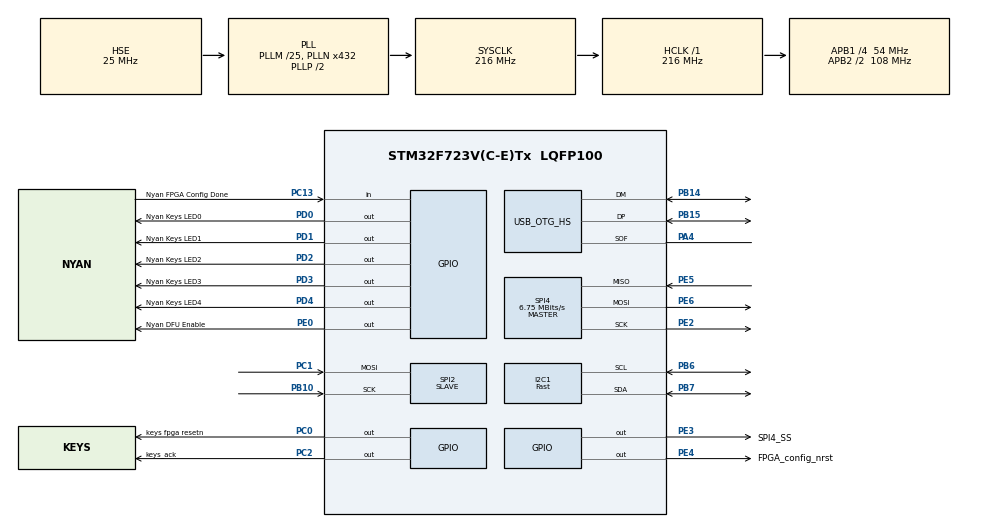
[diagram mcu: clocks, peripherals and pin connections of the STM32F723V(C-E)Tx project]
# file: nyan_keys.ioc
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AL94.I-CUBE-USBD-COMPOSITE.1.0.3.CompositeCcUSBJjCOMPOSITEJjCDCIiACM=true
AL94.I-CUBE-USBD-COMPOSITE.1.0.3.CompositeCcUSBJjCOMPOSITEJjCOMPOSITE=true
AL94.I-CUBE-USBD-COMPOSITE.1.0.3.CompositeCcUSBJjCOMPOSITEJjCore=true
AL94.I-CUBE-USBD-COMPOSITE.1.0.3.CompositeCcUSBJjCOMPOSITEJjHIDIiKEYBOARD=true
AL94.I-CUBE-USBD-COMPOSITE.1.0.3._USBD_USE_CDC_ACM=true
AL94.I-CUBE-USBD-COMPOSITE.1.0.3._USBD_USE_DFU=false
AL94.I-CUBE-USBD-COMPOSITE.1.0.3._USBD_USE_HID_CUSTOM=false
AL94.I-CUBE-USBD-COMPOSITE.1.0.3._USBD_USE_HID_KEYBOARD=true
AL94.I-CUBE-USBD-COMPOSITE.1.0.3._USBD_USE_HS=true
CORTEX_M7.CPU_DCache=Enabled
CORTEX_M7.CPU_ICache=Enabled
CORTEX_M7.PREFETCH_ENABLE=1
CORTEX_M7.default_mode_Activation=0
Dma.I2C1_RX.0.Direction=DMA_PERIPH_TO_MEMORY
Dma.I2C1_RX.0.FIFOMode=DMA_FIFOMODE_DISABLE
Dma.I2C1_RX.0.Instance=DMA1_Stream0
Dma.I2C1_RX.0.MemDataAlignment=DMA_MDATAALIGN_BYTE
Dma.I2C1_RX.0.MemInc=DMA_MINC_ENABLE
Dma.I2C1_RX.0.Mode=DMA_NORMAL
Dma.I2C1_RX.0.PeriphDataAlignment=DMA_PDATAALIGN_BYTE
Dma.I2C1_RX.0.PeriphInc=DMA_PINC_DISABLE
Dma.I2C1_RX.0.Priority=DMA_PRIORITY_MEDIUM
Dma.I2C1_TX.1.Direction=DMA_MEMORY_TO_PERIPH
Dma.I2C1_TX.1.FIFOMode=DMA_FIFOMODE_DISABLE
Dma.I2C1_TX.1.Instance=DMA1_Stream6
Dma.I2C1_TX.1.MemDataAlignment=DMA_MDATAALIGN_BYTE
Dma.I2C1_TX.1.MemInc=DMA_MINC_ENABLE
Dma.I2C1_TX.1.Mode=DMA_NORMAL
Dma.I2C1_TX.1.PeriphDataAlignment=DMA_PDATAALIGN_BYTE
Dma.I2C1_TX.1.PeriphInc=DMA_PINC_DISABLE
Dma.I2C1_TX.1.Priority=DMA_PRIORITY_MEDIUM
Dma.Request0=I2C1_RX
Dma.Request1=I2C1_TX
Dma.Request2=SPI2_RX
Dma.SPI2_RX.2.Direction=DMA_PERIPH_TO_MEMORY
Dma.SPI2_RX.2.FIFOMode=DMA_FIFOMODE_DISABLE
Dma.SPI2_RX.2.Instance=DMA1_Stream3
Dma.SPI2_RX.2.MemDataAlignment=DMA_MDATAALIGN_BYTE
Dma.SPI2_RX.2.MemInc=DMA_MINC_ENABLE
Dma.SPI2_RX.2.Mode=DMA_CIRCULAR
Dma.SPI2_RX.2.PeriphDataAlignment=DMA_PDATAALIGN_BYTE
Dma.SPI2_RX.2.PeriphInc=DMA_PINC_DISABLE
Dma.SPI2_RX.2.Priority=DMA_PRIORITY_VERY_HIGH
I2C1.I2C_Speed_Mode=I2C_Fast
I2C1.Speed=400
I2C1.Timing=0x6000030D
Mcu.Family=STM32F7
Mcu.Name=STM32F723V(C-E)Tx
Mcu.Package=LQFP100
NVIC.DMA1_Stream0_IRQn=true\:1\:0\:true\:false\:true\:false\:true\:true
NVIC.DMA1_Stream3_IRQn=true\:0\:0\:false\:false\:true\:false\:true\:true
NVIC.DMA1_Stream6_IRQn=true\:1\:0\:true\:false\:true\:false\:true\:true
NVIC.I2C1_ER_IRQn=true\:3\:0\:true\:false\:true\:true\:true\:true
NVIC.I2C1_EV_IRQn=true\:3\:0\:true\:false\:true\:true\:true\:true
NVIC.OTG_HS_EP1_IN_IRQn=true\:0\:0\:false\:false\:true\:true\:true\:true
NVIC.OTG_HS_EP1_OUT_IRQn=true\:0\:0\:false\:false\:true\:true\:true\:true
NVIC.OTG_HS_IRQn=true\:1\:0\:true\:false\:true\:true\:true\:true
NVIC.PriorityGroup=NVIC_PRIORITYGROUP_4
NVIC.SPI2_IRQn=true\:2\:0\:true\:false\:true\:true\:true\:true
NVIC.TIM1_CC_IRQn=true\:10\:0\:true\:false\:true\:true\:true\:true
NVIC.TIM1_TRG_COM_TIM11_IRQn=true\:0\:0\:false\:false\:true\:true\:true\:true
NVIC.TIM1_UP_TIM10_IRQn=true\:11\:0\:true\:false\:true\:true\:true\:true
NVIC.TIM6_DAC_IRQn=true\:12\:0\:true\:false\:true\:true\:true\:true
NVIC.TIM7_IRQn=true\:13\:0\:true\:false\:true\:true\:true\:true
NVIC.TIM8_CC_IRQn=true\:9\:0\:true\:false\:true\:true\:true\:true
NVIC.TIM8_TRG_COM_TIM14_IRQn=true\:0\:0\:false\:false\:true\:true\:true\:true
NVIC.TIM8_UP_TIM13_IRQn=true\:3\:0\:true\:false\:true\:true\:true\:true
PA4.Mode=Activate_SOF_FS
PA4.Signal=USB_OTG_HS_SOF
PB10.Mode=RX_Only_Simplex_Unidirect_Slave
PB10.Signal=SPI2_SCK
PB14.Mode=Internal_Phy_Device
PB14.Signal=USB_OTG_HS_DM
PB15.Mode=Internal_Phy_Device
PB15.Signal=USB_OTG_HS_DP
PB6.Mode=I2C
PB6.Signal=I2C1_SCL
PB7.Mode=I2C
PB7.Signal=I2C1_SDA
PC0.GPIO_Label=keys fpga resetn
PC0.GPIO_PuPd=GPIO_PULLDOWN
PC0.GPIO_Speed=GPIO_SPEED_FREQ_MEDIUM
PC0.PinState=GPIO_PIN_RESET
PC0.Signal=GPIO_Output
PC1.Mode=RX_Only_Simplex_Unidirect_Slave
PC1.Signal=SPI2_MOSI
PC13.GPIO_Label=Nyan FPGA Config Done
PC13.GPIO_Mode=GPIO_MODE_INPUT
PC13.GPIO_PuPd=GPIO_PULLDOWN
PC13.Signal=GPIO_Input
PC2.GPIO_Label=keys_ack
PC2.GPIO_PuPd=GPIO_PULLUP
PC2.GPIO_Speed=GPIO_SPEED_FREQ_VERY_HIGH
PC2.PinState=GPIO_PIN_SET
PC2.Signal=GPIO_Output
PD0.GPIO_Label=Nyan Keys LED0
PD0.GPIO_PuPd=GPIO_PULLDOWN
PD0.GPIO_Speed=GPIO_SPEED_FREQ_VERY_HIGH
PD0.Signal=GPIO_Output
PD1.GPIO_Label=Nyan Keys LED1
PD1.GPIO_PuPd=GPIO_PULLDOWN
PD1.GPIO_Speed=GPIO_SPEED_FREQ_VERY_HIGH
PD1.Signal=GPIO_Output
PD2.GPIO_Label=Nyan Keys LED2
PD2.GPIO_PuPd=GPIO_PULLDOWN
PD2.GPIO_Speed=GPIO_SPEED_FREQ_VERY_HIGH
PD2.Signal=GPIO_Output
PD3.GPIO_Label=Nyan Keys LED3
PD3.GPIO_PuPd=GPIO_PULLDOWN
PD3.GPIO_Speed=GPIO_SPEED_FREQ_VERY_HIGH
PD3.Signal=GPIO_Output
PD4.GPIO_Label=Nyan Keys LED4
PD4.GPIO_PuPd=GPIO_PULLDOWN
PD4.GPIO_Speed=GPIO_SPEED_FREQ_VERY_HIGH
PD4.Signal=GPIO_Output
PE0.GPIO_Label=Nyan DFU Enable
PE0.GPIO_PuPd=GPIO_PULLDOWN
PE0.GPIO_Speed=GPIO_SPEED_FREQ_VERY_HIGH
PE0.Signal=GPIO_Output
PE2.Mode=Full_Duplex_Master
PE2.Signal=SPI4_SCK
PE3.GPIO_Label=SPI4_SS
PE3.GPIO_PuPd=GPIO_PULLDOWN
PE3.GPIO_Speed=GPIO_SPEED_FREQ_HIGH
PE3.Signal=GPIO_Output
PE4.GPIO_Label=FPGA_config_nrst
PE4.GPIO_PuPd=GPIO_PULLUP
PE4.GPIO_Speed=GPIO_SPEED_FREQ_MEDIUM
PE4.PinState=GPIO_PIN_SET
PE4.Signal=GPIO_Output
PE5.Mode=Full_Duplex_Master
PE5.Signal=SPI4_MISO
PE6.Mode=Full_Duplex_Master
PE6.Signal=SPI4_MOSI
PH0-OSC_IN.Mode=HSE-External-Clock-Source
PH0-OSC_IN.Signal=RCC_OSC_IN
PH1-OSC_OUT.Mode=HSE-External-Clock-Source
PH1-OSC_OUT.Signal=RCC_OSC_OUT
ProjectManager.HeapSize=0x800
ProjectManager.StackSize=0x800
ProjectManager.TargetToolchain=Makefile
RCC.AHBFreq_Value=216000000
RCC.APB1CLKDivider=RCC_HCLK_DIV4
RCC.APB1Freq_Value=54000000
RCC.APB1TimFreq_Value=108000000
RCC.APB2CLKDivider=RCC_HCLK_DIV2
RCC.APB2Freq_Value=108000000
RCC.APB2TimFreq_Value=216000000
RCC.CortexFreq_Value=216000000
RCC.HCLKFreq_Value=216000000
RCC.HSE_VALUE=25000000
RCC.HSI_VALUE=16000000
RCC.LSE_VALUE=32768
RCC.PLLM=25
RCC.PLLN=432
RCC.PLLQ=9
RCC.SYSCLKFreq_VALUE=216000000
RCC.SYSCLKSource=RCC_SYSCLKSOURCE_PLLCLK
RCC.USBFreq_Value=48000000
RCC.VCOOutputFreq_Value=432000000
REXTPHYHS.Mode=Internal_Phy_Device
REXTPHYHS.Signal=USB_OTG_HS_REXTPHYHS
SPI2.CLKPhase=SPI_PHASE_1EDGE
SPI2.CLKPolarity=SPI_POLARITY_LOW
SPI2.DataSize=SPI_DATASIZE_8BIT
SPI2.Direction=SPI_DIRECTION_2LINES_RXONLY
SPI2.FirstBit=SPI_FIRSTBIT_MSB
SPI2.Mode=SPI_MODE_SLAVE
SPI2.VirtualType=VM_SLAVE
SPI4.BaudRatePrescaler=SPI_BAUDRATEPRESCALER_16
SPI4.CalculateBaudRate=6.75 MBits/s
SPI4.DataSize=SPI_DATASIZE_8BIT
SPI4.Direction=SPI_DIRECTION_2LINES
SPI4.Mode=SPI_MODE_MASTER
SPI4.VirtualType=VM_MASTER
TIM1.AutoReloadPreload=TIM_AUTORELOAD_PRELOAD_ENABLE
TIM1.Channel-Output\ Compare1\ No\ Output=TIM_CHANNEL_1
TIM1.Channel-Output\ Compare2\ No\ Output=TIM_CHANNEL_2
TIM1.ClockDivision=TIM_CLOCKDIVISION_DIV4
TIM1.Period=256
TIM1.Prescaler=320
TIM1.Pulse-Output\ Compare1\ No\ Output=0
TIM1.Pulse-Output\ Compare2\ No\ Output=33
TIM1.TIM_MasterOutputTrigger=TIM_TRGO_RESET
TIM1.TIM_MasterOutputTrigger2=TIM_TRGO2_RESET
TIM1.TIM_MasterSlaveMode=TIM_MASTERSLAVEMODE_DISABLE
TIM14.AutoReloadPreload=TIM_AUTORELOAD_PRELOAD_ENABLE
TIM14.Period=1727
TIM14.Prescaler=62499
TIM6.Period=37
TIM6.Prescaler=16452
TIM7.AutoReloadPreload=TIM_AUTORELOAD_PRELOAD_DISABLE
TIM7.Period=11154
TIM7.Prescaler=7520
TIM7.TIM_MasterOutputTrigger=TIM_TRGO_RESET
TIM8.AutoReloadPreload=TIM_AUTORELOAD_PRELOAD_ENABLE
TIM8.Channel-Output\ Compare1\ No\ Output=TIM_CHANNEL_1
TIM8.ClockDivision=TIM_CLOCKDIVISION_DIV1
TIM8.Period=99
TIM8.Prescaler=2699
USB_OTG_HS.VirtualMode=Int_Phy_Device
USB_OTG_HS.dma_enable=ENABLE
USB_OTG_HS.speed=USB_OTG_SPEED_HIGH
VP_AL94.I-CUBE-USBD-COMPOSITE_VS_USBJjComposite_1.0.0_1.0.3.Mode=USBJjComposite
VP_RNG_VS_RNG.Mode=RNG_Activate
VP_TIM14_VS_ClockSourceINT.Mode=Enable_Timer
VP_TIM1_VS_no_output1.Mode=Output Compare1 No Output
VP_TIM1_VS_no_output2.Mode=Output Compare2 No Output
VP_TIM6_VS_ClockSourceINT.Mode=Enable_Timer
VP_TIM7_VS_ClockSourceINT.Mode=Enable_Timer
VP_TIM8_VS_ClockSourceINT.Mode=Internal
VP_TIM8_VS_no_output1.Mode=Output Compare1 No Output
board=custom

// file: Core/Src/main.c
/* USER CODE BEGIN Header */
/**
  ******************************************************************************
  * @file           : main.c
  * @brief          : Main program body
  ******************************************************************************
  * @attention
  *
  * Copyright (c) 2023 STMicroelectronics.
  * All rights reserved.
  *
  * This software is licensed under terms that can be found in the LICENSE file
  * in the root directory of this software component.
  * If no LICENSE file comes with this software, it is provided AS-IS.
  *
  ******************************************************************************
  */
/* USER CODE END Header */
#include "main.h"
#include "dma.h"
#include "i2c.h"
#include "rng.h"
#include "spi.h"
#include "tim.h"
#include "usb_otg.h"
#include "gpio.h"

/* USER CODE BEGIN Includes */
// USB Composite device support
#include "usb_device.h"
#include "usbd_cdc_acm_if.h"
#include "usbd_hid_keyboard.h"
// Nyan Keys Specific Hardware
#include "24xx_eeprom.h"
#include "iceuncompr.h"
#include "lattice_ice_hx.h"
// NyanOS and Packages
#include "nyan_os.h"
#include "nyan_leds.h"
#include "nyan_strings.h"
#include "nyan_bitcoin.h"
#include "nyan_keys.h"
/* USER CODE END Includes */

/* USER CODE BEGIN PV */
extern USBD_HandleTypeDef hUsbDevice;

// Volatile Interrupt Variables
volatile NyanOS nos;                                  // NyanOS - Main Operating System
volatile double system_status_led_angle;              // Used in the Sin^2(x) + Cos^2(x) = 1 [LED PWM]
volatile NyanKeys nyan_keys;                          // Nyan Keys FPGA Switch driver FPGA -> SPI -> STM32
volatile NyanKeyBoardDescriptor nyan_hid_report;      // Global HID Report used in the nyan keys

// Non-Volatile Globals
Eeprom24xx   nos_eeprom;   // 24xx Based EEPROM
Iceuncompr   ice_uncompr;  // Decompression agent - FPGA Bitstream
LatticeIceHX nos_fpga;     // Lattice ICE40HX4k FPGA driver
NyanBitcoin  nyan_bitcoin; // Nyan Keys Background Bitcoin Miner
/* USER CODE END PV */

void SystemClock_Config(void);

int main(void)
{
/* Enable the CPU Cache */

  /* Enable I-Cache---------------------------------------------------------*/
  SCB_EnableICache();

  /* Enable D-Cache---------------------------------------------------------*/
  SCB_EnableDCache();

  /* MCU Configuration--------------------------------------------------------*/

  /* Reset of all peripherals, Initializes the Flash interface and the Systick. */
  HAL_Init();

  /* USER CODE BEGIN Init */
  EepromInit(&nos_eeprom, true, true);

  /* USER CODE END Init */

  /* Configure the system clock */
  SystemClock_Config();

  /* Initialize all configured peripherals */
  MX_GPIO_Init();
  MX_DMA_Init();
  MX_SPI4_Init();
  MX_I2C1_Init();
  MX_TIM7_Init();
  MX_TIM6_Init();
  MX_TIM1_Init();
  MX_RNG_Init();
  MX_TIM8_Init();
  MX_TIM14_Init();
  MX_USB_OTG_HS_PCD_Init();
  /* USER CODE BEGIN 2 */
  // Activate the STM32F7 timer interrupts
  HAL_TIM_Base_Start_IT(&htim1);
  HAL_TIM_Base_Start_IT(&htim7);
  HAL_TIM_Base_Start_IT(&htim6);
  HAL_TIM_Base_Start_IT(&htim14);
  HAL_TIM_OC_Start_IT(&htim1, TIM_CHANNEL_1);
  HAL_TIM_OC_Start_IT(&htim1, TIM_CHANNEL_2);
  HAL_TIM_OC_Start_IT(&htim8, TIM_CHANNEL_1);
  // USB composite device creation
  HAL_GPIO_WritePin(keys_ack_GPIO_Port, keys_ack_Pin, GPIO_PIN_RESET);
  MX_USB_DEVICE_Init();
  NyanOsInit(&nos);                    // NyanOS (NOS) Initialization
  FPGAInit((LatticeIceHX*)&nos_fpga);  // FPGA Bitstream Loading
  NyanKeysInit((NyanKeys*)&nyan_keys); // Load up the fast cat IP for access to your keys; happy typing.
#ifdef BITCOIN_MINER_EN
  NyanBitcoinInit(&nyan_bitcoin);     // Load up the bitcoin miner, comment this out or delete to disable.
#endif
  // Pull the reset high

  /* USER CODE END 2 */

  /* Infinite loop */
  /* USER CODE BEGIN WHILE */
  bool keys_dma_started = false;
  while (1)
  {
    if (nos_fpga.configured && !keys_dma_started) {
      keys_dma_started = true;
      MX_SPI2_Init();
      FPGANyanKeysIPReset();
      NyanGetKeys((NyanKeys*)&nyan_keys);
    } else if (!nos_fpga.configured) {
      FPGAInit(&nos_fpga);
    } else if (nos.dfu_mode) {
      HAL_GPIO_WritePin(Nyan_DFU_Enable_GPIO_Port, Nyan_DFU_Enable_Pin, GPIO_PIN_SET);
      HAL_Delay(1000);
      NVIC_SystemReset();
    }
    /* USER CODE END WHILE */

  }
}

void SystemClock_Config(void)
{
  RCC_OscInitTypeDef RCC_OscInitStruct = {0};
  RCC_ClkInitTypeDef RCC_ClkInitStruct = {0};

  /** Configure the main internal regulator output voltage
  */
  __HAL_RCC_PWR_CLK_ENABLE();
  __HAL_PWR_VOLTAGESCALING_CONFIG(PWR_REGULATOR_VOLTAGE_SCALE1);

  /** Initializes the RCC Oscillators according to the specified parameters
  * in the RCC_OscInitTypeDef structure.
  */
  RCC_OscInitStruct.OscillatorType = RCC_OSCILLATORTYPE_HSE;
  RCC_OscInitStruct.HSEState = RCC_HSE_BYPASS;
  RCC_OscInitStruct.PLL.PLLState = RCC_PLL_ON;
  RCC_OscInitStruct.PLL.PLLSource = RCC_PLLSOURCE_HSE;
  RCC_OscInitStruct.PLL.PLLM = 25;
  RCC_OscInitStruct.PLL.PLLN = 432;
  RCC_OscInitStruct.PLL.PLLP = RCC_PLLP_DIV2;
  RCC_OscInitStruct.PLL.PLLQ = 9;
  if (HAL_RCC_OscConfig(&RCC_OscInitStruct) != HAL_OK)
  {
    Error_Handler();
  }

  /** Activate the Over-Drive mode
  */
  if (HAL_PWREx_EnableOverDrive() != HAL_OK)
  {
    Error_Handler();
  }

  /** Initializes the CPU, AHB and APB buses clocks
  */
  RCC_ClkInitStruct.ClockType = RCC_CLOCKTYPE_HCLK|RCC_CLOCKTYPE_SYSCLK
                              |RCC_CLOCKTYPE_PCLK1|RCC_CLOCKTYPE_PCLK2;
  RCC_ClkInitStruct.SYSCLKSource = RCC_SYSCLKSOURCE_PLLCLK;
  RCC_ClkInitStruct.AHBCLKDivider = RCC_SYSCLK_DIV1;
  RCC_ClkInitStruct.APB1CLKDivider = RCC_HCLK_DIV4;
  RCC_ClkInitStruct.APB2CLKDivider = RCC_HCLK_DIV2;

  if (HAL_RCC_ClockConfig(&RCC_ClkInitStruct, FLASH_LATENCY_7) != HAL_OK)
  {
    Error_Handler();
  }
}

/* USER CODE BEGIN 4 */
void HAL_SPI_RxCpltCallback(SPI_HandleTypeDef *hspi)
{
  NyanBuildHidReportFromKeyStates((NyanKeys*)&nyan_keys, &nyan_hid_report);
  //USBD_HID_Keyboard_SendReport(&hUsbDevice, (uint8_t*)&nyan_hid_report, sizeof(nyan_hid_report));
  HAL_GPIO_WritePin(keys_ack_GPIO_Port, keys_ack_Pin, GPIO_PIN_SET);
  HAL_GPIO_WritePin(keys_ack_GPIO_Port, keys_ack_Pin, GPIO_PIN_RESET);
}

void HAL_I2C_MemTxCpltCallback(I2C_HandleTypeDef *I2cHandle)
{
  nos_eeprom.tx_inflight = false;
}

void HAL_I2C_MemRxCpltCallback(I2C_HandleTypeDef *I2cHandle)
{
  nos_eeprom.rx_inflight = false;
}

void HAL_SPI_ErrorCallback(SPI_HandleTypeDef *hspi)
{
  MX_SPI2_Init(); //Upon error in the SPI transmission; reset the SPI2 instance.
}

void HAL_I2C_ErrorCallback(I2C_HandleTypeDef *I2cHandle)
{
  uint8_t error = HAL_I2C_GetError(I2cHandle);
  switch (error)
  {
    case HAL_I2C_ERROR_AF :
      nos_eeprom.tx_failed = true;
      break;
    default:
      Error_Handler();
  }
}

void HAL_TIM_PeriodElapsedCallback(TIM_HandleTypeDef *htim)
{
  if (htim->Instance == TIM1) {
    HAL_GPIO_WritePin(GPIOD, Nyan_Keys_LED4_Pin, GPIO_PIN_SET);
    nos_fpga.configured = HAL_GPIO_ReadPin(Nyan_FPGA_Config_Done_GPIO_Port, Nyan_FPGA_Config_Done_Pin);
    // FPGA configuration done indicator
    if(nos_fpga.configured)
      HAL_GPIO_WritePin(Nyan_Keys_LED0_GPIO_Port, Nyan_Keys_LED0_Pin, GPIO_PIN_SET);
    else
      HAL_GPIO_WritePin(Nyan_Keys_LED0_GPIO_Port, Nyan_Keys_LED0_Pin, GPIO_PIN_RESET);
  } if (htim->Instance == TIM6) {
    // Increment the power on pulsing LED angle [sin^2(x) + cos^2(x) = 1]
    system_status_led_angle += SYSTEM_STATUS_DEGREE_INCREMENT;
  } if (htim->Instance == TIM7) {
    // Welcome MoTD guarding from double displays
    if(nos.send_welcome_screen_guard > 0 && ++nos.send_welcome_screen_guard > _NYAN_WELCOME_GUARD_TIME) {
      nos.send_welcome_screen_guard = 0;
    }
  } if (htim->Instance == TIM14) {
    // 1 second period timer. Used for performance metrics
    nos.perf_keys_count_spi_calls = nos.perf_keys_count_spi_calls_nxt;
    nos.perf_keys_count_spi_calls_nxt = 0;
  }
}

void HAL_TIM_OC_DelayElapsedCallback(TIM_HandleTypeDef *htim)
{
  if (htim->Instance == TIM1) {
    if (htim->Channel == HAL_TIM_ACTIVE_CHANNEL_1) {
      // Pulse the SystemStatus LED off
      HAL_GPIO_WritePin(Nyan_Keys_LED4_GPIO_Port, Nyan_Keys_LED4_Pin, GPIO_PIN_RESET);
      // Now lets set the new capture compare register value.
      unsigned char cc_val = getSystemStatusOCRValue(system_status_led_angle);
      __HAL_TIM_SET_COMPARE(htim, TIM_CHANNEL_1, (unsigned int)cc_val);
      __HAL_TIM_SET_COMPARE(htim, TIM_CHANNEL_2, (unsigned int)cc_val);
    }
    if (htim->Channel == HAL_TIM_ACTIVE_CHANNEL_2) {
      HAL_GPIO_WritePin(Nyan_Keys_LED0_GPIO_Port, Nyan_Keys_LED0_Pin, GPIO_PIN_RESET);
    }
  }
  if (htim->Instance == TIM8) {
    // Clear the CDC TX buffer with Nyan large print support
    NyanCdcTX(&nos);
    // Every 200ms check to see if the welcome display needs to be presented
    if(nos.exe == NYAN_EXE_IDLE) {
      NyanWelcomeDisplay(&nos);
    }
    // Program Execution - Must be idle with no TXs inflight since we are modifying the ptr
    if(nos.exe != NYAN_EXE_IDLE && nos.tx_inflight == 0 && nos.exe_in_progress == 0) {
      NyanExecute(&nos);
    }
    // Turn off the RX CDC LED
    HAL_GPIO_WritePin(Nyan_Keys_LED3_GPIO_Port, Nyan_Keys_LED3_Pin, GPIO_PIN_RESET);
  }
}
/* USER CODE END 4 */

void Error_Handler(void)
{
  /* USER CODE BEGIN Error_Handler_Debug */
  /* User can add his own implementation to report the HAL error return state */
  __disable_irq();
  while (1)
  {
    // Turn on all LEDs on hard error
    HAL_GPIO_WritePin(GPIOD, Nyan_Keys_LED0_Pin, GPIO_PIN_SET);
    HAL_GPIO_WritePin(GPIOD, Nyan_Keys_LED1_Pin, GPIO_PIN_SET);
    HAL_GPIO_WritePin(GPIOD, Nyan_Keys_LED2_Pin, GPIO_PIN_SET);
    HAL_GPIO_WritePin(GPIOD, Nyan_Keys_LED3_Pin, GPIO_PIN_SET);
    HAL_GPIO_WritePin(GPIOD, Nyan_Keys_LED4_Pin, GPIO_PIN_SET);
    // Reset Nyan Keys
    NVIC_SystemReset();
  }
  /* USER CODE END Error_Handler_Debug */
}

#ifdef  USE_FULL_ASSERT
/**
  * @brief  Reports the name of the source file and the source line number
  *         where the assert_param error has occurred.
  * @param  file: pointer to the source file name
  * @param  line: assert_param error line source number
  * @retval None
  */
void assert_failed(uint8_t *file, uint32_t line)
{
  /* USER CODE BEGIN 6 */
  /* User can add his own implementation to report the file name and line number,
     example: printf("Wrong parameters value: file %s on line %d\r\n", file, line) */
  /* USER CODE END 6 */
}
#endif /* USE_FULL_ASSERT */
